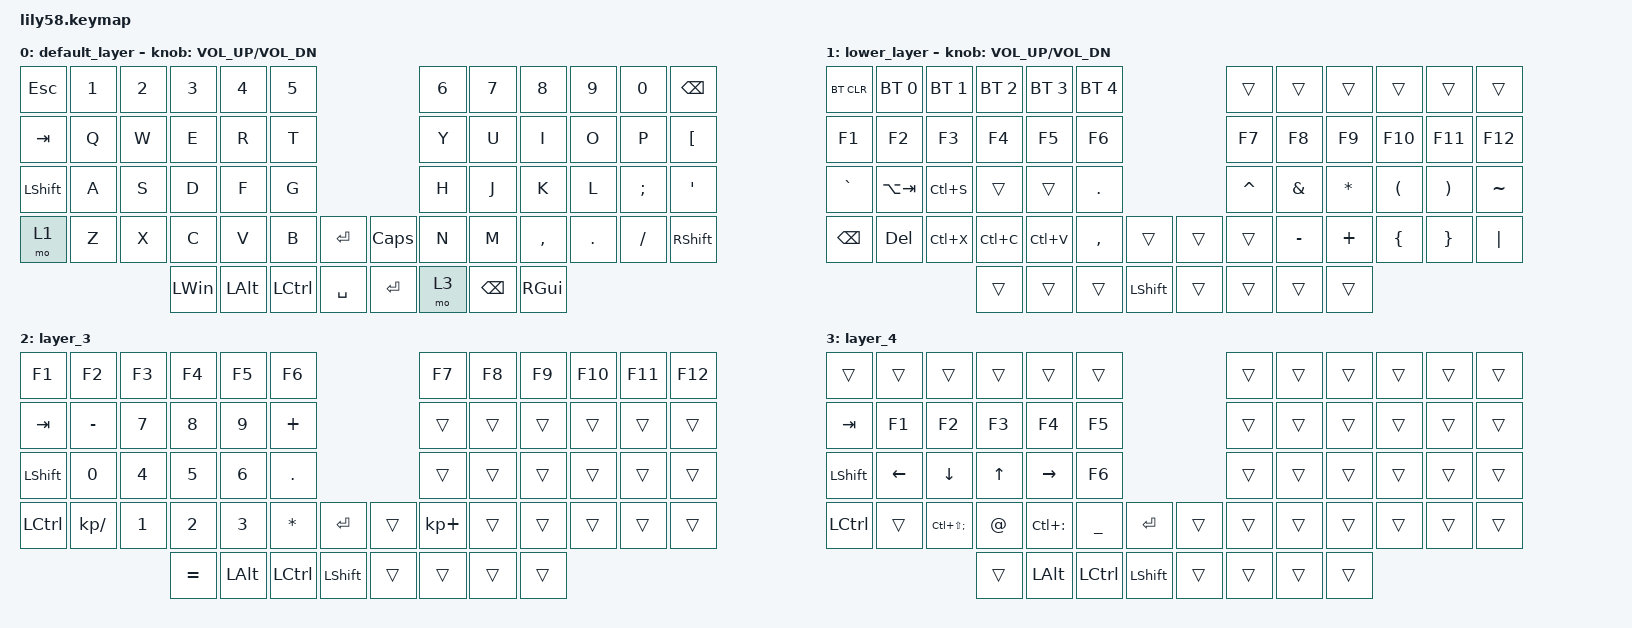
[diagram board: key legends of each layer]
/*
 * Copyright (c) 2020 The ZMK Contributors
 *
 * SPDX-License-Identifier: MIT
 */

#include <behaviors.dtsi>
#include <dt-bindings/zmk/bt.h>
#include <dt-bindings/zmk/keys.h>

/ {
    combos {
        compatible = "zmk,combos";

        To_DL {
            bindings = <&to 0>;
            key-positions = <14 28>;
        };

        To_arrows {
            bindings = <&to 3>;
            key-positions = <28 26>;
        };

        To_digits {
            bindings = <&to 2>;
            key-positions = <28 38>;
        };

        Language_switch {
            bindings = <&kp LA(LEFT_SHIFT)>;
            key-positions = <25 28>;
        };
    };

    behaviors {
        ss_hs_modmorph: ss_hs_modmorph {
            compatible = "zmk,behavior-mod-morph";
            label = "SS_HS_MODMORPH";
            bindings = <&kp M>, <&kp RIGHT_BRACKET>;

            #binding-cells = <0>;
            mods = <(MOD_LSFT|MOD_RSFT)>;
        };

        kh_hs_tapdance: kh_hs_tapdance {
            compatible = "zmk,behavior-tap-dance";
            label = "KH_HS_TAPDANCE";
            #binding-cells = <0>;
            tapping-term-ms = <200>;
            bindings = <&kp LEFT_BRACKET>, <&kp RIGHT_BRACKET>;
        };

        hrm: hrm {
            compatible = "zmk,behavior-hold-tap";
            #binding-cells = <2>;
            flavor = "tap-preferred";
            tapping-term-ms = <200>;
            quick-tap-ms = <200>;
            require-prior-idle-ms = <125>;
            bindings = <&kp>, <&kp>;
        };
    };

    keymap {
        compatible = "zmk,keymap";

        default_layer {
            // ------------------------------------------------------------------------------------------------------------
            // |  ESC  |  1  |  2  |  3   |  4   |  5   |                   |  6   |  7    |  8    |  9   |   0   |   `   |
            // |  TAB  |  Q  |  W  |  E   |  R   |  T   |                   |  Y   |  U    |  I    |  O   |   P   |   -   |
            // |  CTRL |  A  |  S  |  D   |  F   |  G   |                   |  H   |  J    |  K    |  L   |   ;   |   '   |
            // | SHIFT |  Z  |  X  |  C   |  V   |  B   |   "["  |  |  "]"  |  N   |  M    |  ,    |  .   |   /   | SHIFT |
            //                     | ALT  | GUI  | LOWER|  SPACE |  | ENTER | RAISE| BSPC  | GUI   |

            bindings = <
&kp ESC         &kp N1  &kp N2  &kp N3        &kp N4        &kp N5                                &kp N6  &kp N7    &kp N8     &kp N9   &kp N0    &kp BACKSPACE
&kp TAB         &kp Q   &kp W   &kp E         &kp R         &kp T                                 &kp Y   &kp U     &kp I      &kp O    &kp P     &kp LBKT
&kp LEFT_SHIFT  &kp A   &kp S   &kp D         &kp F         &kp G                                 &kp H   &kp J     &kp K      &kp L    &kp SEMI  &kp SQT
&mo 1           &kp Z   &kp X   &kp C         &kp V         &kp B      &kp ENTER    &kp CAPSLOCK  &kp N   &kp M     &kp COMMA  &kp DOT  &kp FSLH  &kp RSHFT
                                &kp LEFT_WIN  &kp LEFT_ALT  &kp LCTRL  &kp SPACE    &kp RET       &mo 3   &kp BSPC  &kp RGUI
            >;

            sensor-bindings = <&inc_dec_kp C_VOL_UP C_VOL_DN>;
        };

        lower_layer {
            // ------------------------------------------------------------------------------------------------------------
            // | BTCLR | BT1 | BT2 |  BT3 |  BT4 |  BT5 |                   |      |       |       |      |       |       |
            // |  F1   |  F2 |  F3 |  F4  |  F5  |  F6  |                   |  F7  |  F8   |  F9   |  F10 |  F11  |  F12  |
            // |   `   |  !  |  @  |  #   |  $   |  %   |                   |  ^   |  &    |  *    |  (   |   )   |   ~   |
            // |       |     |     |      |      |      |        |  |       |      |  _    |  +    |  {   |   }   |  "|"  |
            //                     |      |      |      |        |  |       |      |       |       |

            bindings = <
&bt BT_CLR     &bt BT_SEL 0  &bt BT_SEL 1  &bt BT_SEL 2  &bt BT_SEL 3  &bt BT_SEL 4                            &trans     &trans     &trans     &trans    &trans    &trans
&kp F1         &kp F2        &kp F3        &kp F4        &kp F5        &kp F6                                  &kp F7     &kp F8     &kp F9     &kp F10   &kp F11   &kp F12
&kp GRAVE      &kp LA(TAB)   &kp LC(S)     &trans        &trans        &kp PERIOD                              &kp CARET  &kp AMPS   &kp ASTRK  &kp LPAR  &kp RPAR  &kp TILDE
&kp BACKSPACE  &kp DELETE    &kp LC(X)     &kp LC(C)     &kp LC(V)     &kp COMMA     &trans            &trans  &trans     &kp MINUS  &kp PLUS   &kp LBRC  &kp RBRC  &kp PIPE
                                           &trans        &trans        &trans        &kp LEFT_SHIFT    &trans  &trans     &trans     &trans
            >;

            sensor-bindings = <&inc_dec_kp C_VOL_UP C_VOL_DN>;
        };

        layer_3 {
            bindings = <
&kp F1          &kp F2         &kp F3        &kp F4        &kp F5        &kp F6                                  &kp F7       &kp F8  &kp F9  &kp F10  &kp F11  &kp F12
&kp TAB         &kp MINUS      &kp NUMBER_7  &kp NUMBER_8  &kp NUMBER_9  &kp PLUS                                &trans       &trans  &trans  &trans   &trans   &trans
&kp LEFT_SHIFT  &kp NUMBER_0   &kp NUMBER_4  &kp NUMBER_5  &kp NUMBER_6  &kp PERIOD                              &trans       &trans  &trans  &trans   &trans   &trans
&kp LCTRL       &kp KP_DIVIDE  &kp NUMBER_1  &kp NUMBER_2  &kp NUMBER_3  &kp ASTERISK  &kp ENTER         &trans  &kp KP_PLUS  &trans  &trans  &trans   &trans   &trans
                                             &kp EQUAL     &kp LEFT_ALT  &kp LCTRL     &kp LEFT_SHIFT    &trans  &trans       &trans  &trans
            >;
        };

        layer_4 {
            bindings = <
&trans          &trans          &trans                 &trans        &trans           &trans                                    &trans  &trans  &trans  &trans  &trans  &trans
&kp TAB         &kp F1          &kp F2                 &kp F3        &kp F4           &kp F5                                    &trans  &trans  &trans  &trans  &trans  &trans
&kp LEFT_SHIFT  &kp LEFT_ARROW  &kp DOWN_ARROW         &kp UP_ARROW  &kp RIGHT_ARROW  &kp F6                                    &trans  &trans  &trans  &trans  &trans  &trans
&kp LCTRL       &trans          &kp LC(LS(SEMICOLON))  &kp AT_SIGN   &kp LC(COLON)    &kp UNDERSCORE  &kp ENTER         &trans  &trans  &trans  &trans  &trans  &trans  &trans
                                                       &trans        &kp LEFT_ALT     &kp LCTRL       &kp LEFT_SHIFT    &trans  &trans  &trans  &trans
            >;
        };
    };
};
